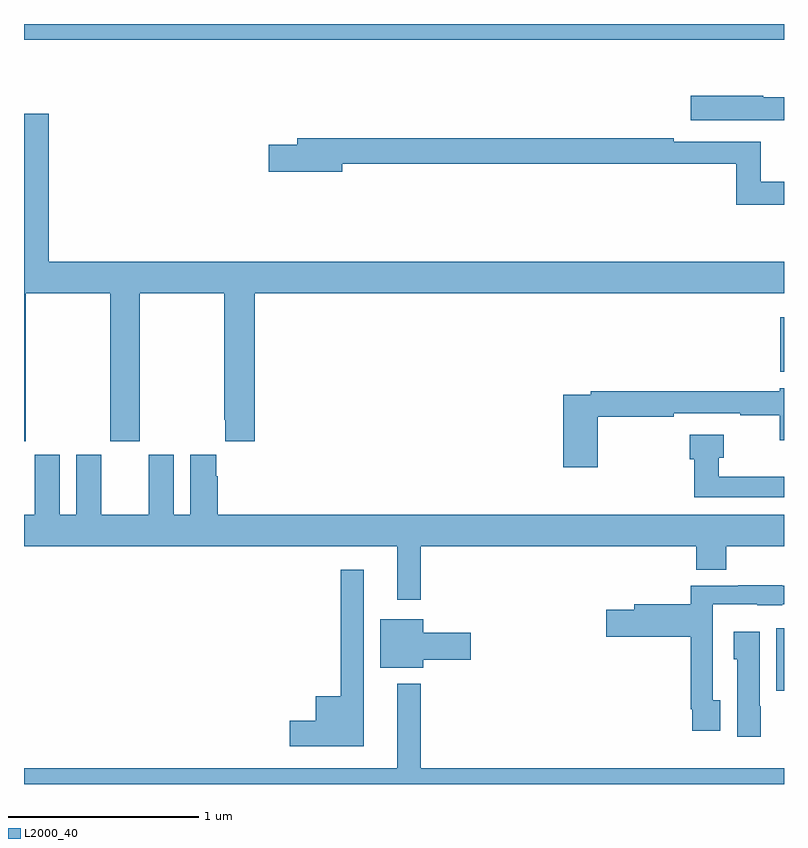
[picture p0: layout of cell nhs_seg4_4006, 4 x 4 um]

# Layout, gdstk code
import gdstk
lib = gdstk.Library(unit=1e-6, precision=1e-09)
def R(c, l, rs):  # rectangles x0, y0, x1, y1
    for r in rs: c.add(gdstk.rectangle(r[:2], r[2:], *l))
def P(c, l, *ps):  # polygons
    for p in ps: c.add(gdstk.Polygon(p, *l))
L2000_40 = (2000, 40)

nhs_seg4_4006 = lib.new_cell('nhs_seg4_4006')
R(nhs_seg4_4006, L2000_40, [(326.96,797.391,327,797.719), (326.981,799.07,327,799.357), (323,800.816,327,800.9)])
P(nhs_seg4_4006, L2000_40, [(326.892,800.394),(327,800.394),(327,800.515),(326.892,800.515),(326.892,800.523),(326.508,800.523),(326.508,800.393),(326.892,800.393)],
  [(323.01,799.484),(323.455,799.484),(323.455,798.705),(323.61,798.705),(323.61,799.484),(324.055,799.484),(324.055,798.817),(324.059,798.817),(324.059,798.705),(324.215,798.705),(324.215,799.484),(327,799.484),(327,799.648),(323.129,799.648),(323.129,800.428),(323,800.428),(323,798.705),(323.01,798.705)],
  [(327,800.071),(326.878,800.071),(326.878,800.28),(326.42,800.28),(326.42,800.3),(324.437,800.3),(324.437,800.264),(324.288,800.264),(324.288,800.122),(324.676,800.122),(324.676,800.164),(326.749,800.164),(326.749,799.95),(327,799.95)],
  [(326.021,798.832),(326.42,798.832),(326.42,798.852),(326.77,798.852),(326.77,798.84),(326.978,798.84),(326.978,798.71),(327,798.71),(327,798.982),(326.978,798.982),(326.978,798.968),(325.984,798.968),(325.984,798.948),(325.838,798.948),(325.838,798.567),(326.021,798.567)],
  [(327,798.517),(326.656,798.517),(326.656,798.617),(326.682,798.617),(326.682,798.739),(326.504,798.739),(326.504,798.61),(326.527,798.61),(326.527,798.408),(327,798.408)],
  [(325.087,798.152),(326.537,798.152),(326.537,798.028),(326.697,798.028),(326.697,798.152),(327,798.152),(327,798.316),(324.02,798.316),(324.02,798.521),(324.013,798.521),(324.013,798.634),(323.876,798.634),(323.876,798.316),(323.788,798.316),(323.788,798.634),(323.657,798.634),(323.657,798.316),(323.407,798.316),(323.407,798.634),(323.276,798.634),(323.276,798.316),(323.188,798.316),(323.188,798.634),(323.057,798.634),(323.057,798.316),(323,798.316),(323,798.152),(324.965,798.152),(324.965,797.871),(325.087,797.871)],
  [(324.787,798.028),(324.666,798.028),(324.666,797.362),(324.536,797.362),(324.536,797.234),(324.399,797.234),(324.399,797.099),(324.787,797.099)],
  [(326.665,797.342),(326.625,797.342),(326.625,797.846),(326.859,797.846),(326.859,797.84),(326.991,797.84),(326.991,797.847),(327,797.847),(327,797.943),(326.991,797.943),(326.991,797.945),(326.759,797.945),(326.759,797.943),(326.509,797.943),(326.509,797.847),(326.213,797.847),(326.213,797.817),(326.064,797.817),(326.064,797.675),(326.509,797.675),(326.509,797.293),(326.517,797.293),(326.517,797.181),(326.665,797.181)],
  [(325.102,797.555),(325.351,797.555),(325.351,797.697),(325.102,797.697),(325.102,797.767),(324.875,797.767),(324.875,797.513),(325.102,797.513)],
  [(326.878,797.31),(326.872,797.31),(326.872,797.701),(326.735,797.701),(326.735,797.556),(326.753,797.556),(326.753,797.148),(326.878,797.148)],
  [(327,796.984),(325.087,796.984),(325.087,797.428),(324.965,797.428),(324.965,796.984),(323,796.984),(323,796.9),(327,796.9)])

lib.write_gds('nhs_seg4_4006.gds')
